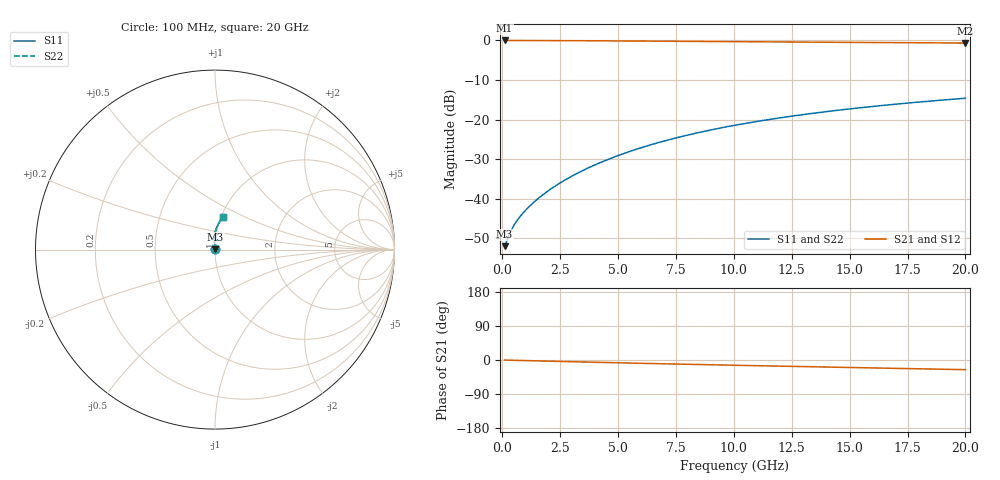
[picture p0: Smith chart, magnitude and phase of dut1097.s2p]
! Touchstone file exported from HFSS 2024.1.0
!  File:  C:/UserFiles/LocalFiles/RDL_TSV_Batchsim/temp_RDL_top_1097_1780046198.aedt
!  Generated:  05:18:31 PM May 29, 2026
!  Design:  RDL_top
!  Project:  temp_RDL_top_1097_1780046198
!  Setup:  Setup1
!  Solution:  Sweep
! Variables:
!  dtsv = 10.80580581um
!  hbump = 3um
!  htsv = 70.13um
!  ldown = 100um
!  lrdl = 396.35um
!  p = 40
!  p1 = 41.94um
!  rhole = 1um
!  t = 450um
!  tdown = 3.915915916um
!  trdl = 2.5um
!  wdown = 15.38538539um
!  wrdl = 27.94um
# GHz S MA R 50.000000
! Terminal data exported
! Port[1] = Box2_T1
! Port[2] = Box2_T2
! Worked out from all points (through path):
!   200 points, 100 MHz to 20 GHz, reference 50 ohm
!   highest |S21| = -0.02 dB at 100 MHz (marker M1); lowest = -0.7 dB at 20 GHz (marker M2)
!   group delay of S21, straight-line fit = 3.49 ps
!   lowest |S11| = -52.0 dB at 100 MHz (marker M3), VSWR 1.01, Z = 50.2 + j0.0833 ohm
!   |S11| at or under -10 dB: start of sweep to end of sweep
!   |S22| runs from -52.0 to -14.6 dB; largest |S21 - S12| = 2.6e-15
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0.1  0.002512 19.3  0.9976 -0.2  0.9976 -0.2  0.002512 19.3
! Gamma 0 0 0 0
! Port Impedance 50 0 50 0
0.3  0.003506 41.5  0.9973 -0.5  0.9973 -0.5  0.003506 41.5
0.4  0.004059 47.2  0.9971 -0.7  0.9971 -0.7  0.004059 47.2
0.5  0.004593 51.4  0.9969 -0.8  0.9969 -0.8  0.004593 51.4
0.6  0.005107 54.8  0.9967 -1.0  0.9967 -1.0  0.005107 54.8
0.8  0.00611 60.4  0.9964 -1.3  0.9964 -1.3  0.00611 60.4
1.2  0.008151 69.0  0.9957 -1.9  0.9957 -1.9  0.008151 69.0
1.7  0.01091 76.5  0.9948 -2.6  0.9948 -2.6  0.01091 76.5
2.2  0.01392 81.8  0.9937 -3.4  0.9937 -3.4  0.01392 81.8
2.8  0.01785 86.2  0.9921 -4.3  0.9921 -4.3  0.01785 86.2
3.5  0.02286 89.7  0.9899 -5.3  0.9899 -5.3  0.02286 89.7
4.2  0.02831 92.0  0.9873 -6.3  0.9873 -6.3  0.02831 92.0
5  0.03503 93.5  0.9842 -7.4  0.9842 -7.4  0.03503 93.5
5.9  0.04312 94.2  0.9804 -8.6  0.9804 -8.6  0.04312 94.2
6.8  0.05166 94.2  0.9765 -9.8  0.9765 -9.8  0.05166 94.2
8.4  0.06763 93.1  0.9695 -11.9  0.9695 -11.9  0.06764 93.1
10.1  0.08522 91.1  0.9623 -14.0  0.9623 -14.0  0.08523 91.1
11.7  0.102 88.8  0.9558 -15.9  0.9558 -15.9  0.102 88.8
13.4  0.1197 86.2  0.9492 -17.9  0.9492 -17.9  0.1197 86.2
15  0.1362 83.8  0.9433 -19.8  0.9433 -19.8  0.1362 83.8
16.7  0.1534 81.1  0.9372 -21.7  0.9372 -21.7  0.1535 81.2
20  0.1857 76.2  0.9258 -25.5  0.9258 -25.5  0.1857 76.3
